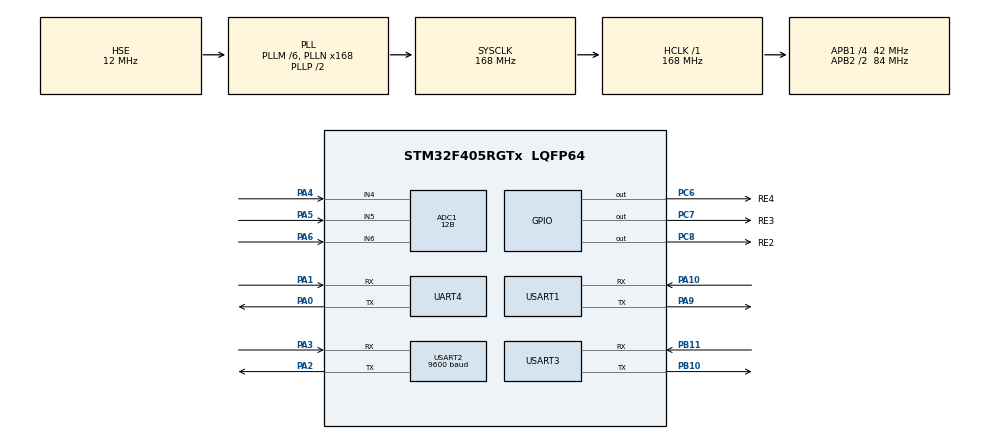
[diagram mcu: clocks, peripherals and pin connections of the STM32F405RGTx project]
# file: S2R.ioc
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ADC1.Channel-0\#ChannelRegularConversion=ADC_CHANNEL_4
ADC1.Channel-1\#ChannelRegularConversion=ADC_CHANNEL_5
ADC1.Channel-3\#ChannelRegularConversion=ADC_CHANNEL_6
ADC1.ClockPrescaler=ADC_CLOCK_SYNC_PCLK_DIV8
ADC1.ContinuousConvMode=ENABLE
ADC1.DMAContinuousRequests=ENABLE
ADC1.DataAlign=ADC_DATAALIGN_RIGHT
ADC1.DiscontinuousConvMode=DISABLE
ADC1.EOCSelection=ADC_EOC_SINGLE_CONV
ADC1.EnableAnalogWatchDog=false
ADC1.ExternalTrigConvEdge=ADC_EXTERNALTRIGCONVEDGE_NONE
ADC1.InjNumberOfConversion=0
ADC1.NbrOfConversion=3
ADC1.NbrOfConversionFlag=1
ADC1.Rank-0\#ChannelRegularConversion=1
ADC1.Rank-1\#ChannelRegularConversion=2
ADC1.Rank-3\#ChannelRegularConversion=3
ADC1.Resolution=ADC_RESOLUTION_12B
ADC1.SamplingTime-0\#ChannelRegularConversion=ADC_SAMPLETIME_15CYCLES
ADC1.SamplingTime-1\#ChannelRegularConversion=ADC_SAMPLETIME_15CYCLES
ADC1.SamplingTime-3\#ChannelRegularConversion=ADC_SAMPLETIME_15CYCLES
ADC1.ScanConvMode=ENABLE
ADC1.master=1
Dma.ADC1.0.Direction=DMA_PERIPH_TO_MEMORY
Dma.ADC1.0.FIFOMode=DMA_FIFOMODE_DISABLE
Dma.ADC1.0.Instance=DMA2_Stream0
Dma.ADC1.0.MemDataAlignment=DMA_MDATAALIGN_WORD
Dma.ADC1.0.MemInc=DMA_MINC_ENABLE
Dma.ADC1.0.Mode=DMA_CIRCULAR
Dma.ADC1.0.PeriphDataAlignment=DMA_PDATAALIGN_WORD
Dma.ADC1.0.PeriphInc=DMA_PINC_DISABLE
Dma.ADC1.0.Priority=DMA_PRIORITY_LOW
Dma.Request0=ADC1
Mcu.Family=STM32F4
Mcu.Name=STM32F405RGTx
Mcu.Package=LQFP64
NVIC.DMA2_Stream0_IRQn=true\:0\:0\:false\:false\:true
NVIC.PriorityGroup=NVIC_PRIORITYGROUP_4
NVIC.UART4_IRQn=true\:0\:0\:false\:false\:true
NVIC.USART1_IRQn=true\:0\:0\:false\:false\:true
NVIC.USART2_IRQn=true\:0\:0\:false\:false\:true
NVIC.USART3_IRQn=true\:0\:0\:false\:false\:true
PA0-WKUP.Mode=Asynchronous
PA0-WKUP.Signal=UART4_TX
PA1.Mode=Asynchronous
PA1.Signal=UART4_RX
PA10.Mode=Asynchronous
PA10.Signal=USART1_RX
PA2.Mode=Asynchronous
PA2.Signal=USART2_TX
PA3.Mode=Asynchronous
PA3.Signal=USART2_RX
PA4.Signal=ADCx_IN4
PA5.Signal=ADCx_IN5
PA6.Signal=ADCx_IN6
PA9.Mode=Asynchronous
PA9.Signal=USART1_TX
PB10.Mode=Asynchronous
PB10.Signal=USART3_TX
PB11.Mode=Asynchronous
PB11.Signal=USART3_RX
PC6.GPIO_Label=RE4
PC6.GPIO_Speed=GPIO_SPEED_FREQ_LOW
PC6.Signal=GPIO_Output
PC7.GPIO_Label=RE3
PC7.Signal=GPIO_Output
PC8.GPIO_Label=RE2
PC8.Signal=GPIO_Output
PH0-OSC_IN.Mode=HSE-External-Oscillator
PH0-OSC_IN.Signal=RCC_OSC_IN
PH1-OSC_OUT.Mode=HSE-External-Oscillator
PH1-OSC_OUT.Signal=RCC_OSC_OUT
ProjectManager.HeapSize=0x200
ProjectManager.StackSize=0x400
ProjectManager.TargetToolchain=MDK-ARM V5
RCC.48MHZClocksFreq_Value=84000000
RCC.AHBFreq_Value=168000000
RCC.APB1CLKDivider=RCC_HCLK_DIV4
RCC.APB1Freq_Value=42000000
RCC.APB1TimFreq_Value=84000000
RCC.APB2CLKDivider=RCC_HCLK_DIV2
RCC.APB2Freq_Value=84000000
RCC.APB2TimFreq_Value=168000000
RCC.CortexFreq_Value=168000000
RCC.HCLKFreq_Value=168000000
RCC.HSE_VALUE=12000000
RCC.HSI_VALUE=16000000
RCC.LSE_VALUE=32768
RCC.PLLM=6
RCC.PLLN=168
RCC.PLLSourceVirtual=RCC_PLLSOURCE_HSE
RCC.SYSCLKFreq_VALUE=168000000
RCC.SYSCLKSource=RCC_SYSCLKSOURCE_PLLCLK
RCC.VCOOutputFreq_Value=336000000
SH.ADCx_IN4.0=ADC1_IN4,IN4
SH.ADCx_IN5.0=ADC1_IN5,IN5
SH.ADCx_IN6.0=ADC1_IN6,IN6
USART2.BaudRate=9600
board=S2R

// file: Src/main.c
/**
  ******************************************************************************
  * File Name          : main.c
  * Description        : Main program body
  ******************************************************************************
  *
  * COPYRIGHT(c) 2017 STMicroelectronics
  *
  * Redistribution and use in source and binary forms, with or without modification,
  * are permitted provided that the following conditions are met:
  *   1. Redistributions of source code must retain the above copyright notice,
  *      this list of conditions and the following disclaimer.
  *   2. Redistributions in binary form must reproduce the above copyright notice,
  *      this list of conditions and the following disclaimer in the documentation
  *      and/or other materials provided with the distribution.
  *   3. Neither the name of STMicroelectronics nor the names of its contributors
  *      may be used to endorse or promote products derived from this software
  *      without specific prior written permission.
  *
  * THIS SOFTWARE IS PROVIDED BY THE COPYRIGHT HOLDERS AND CONTRIBUTORS "AS IS"
  * AND ANY EXPRESS OR IMPLIED WARRANTIES, INCLUDING, BUT NOT LIMITED TO, THE
  * IMPLIED WARRANTIES OF MERCHANTABILITY AND FITNESS FOR A PARTICULAR PURPOSE ARE
  * DISCLAIMED. IN NO EVENT SHALL THE COPYRIGHT HOLDER OR CONTRIBUTORS BE LIABLE
  * FOR ANY DIRECT, INDIRECT, INCIDENTAL, SPECIAL, EXEMPLARY, OR CONSEQUENTIAL
  * DAMAGES (INCLUDING, BUT NOT LIMITED TO, PROCUREMENT OF SUBSTITUTE GOODS OR
  * SERVICES; LOSS OF USE, DATA, OR PROFITS; OR BUSINESS INTERRUPTION) HOWEVER
  * CAUSED AND ON ANY THEORY OF LIABILITY, WHETHER IN CONTRACT, STRICT LIABILITY,
  * OR TORT (INCLUDING NEGLIGENCE OR OTHERWISE) ARISING IN ANY WAY OUT OF THE USE
  * OF THIS SOFTWARE, EVEN IF ADVISED OF THE POSSIBILITY OF SUCH DAMAGE.
  *
  ******************************************************************************
  */
#include "main.h"
#include "stm32f4xx_hal.h"
#include "adc.h"
#include "dma.h"
#include "usart.h"
#include "gpio.h"

/* USER CODE BEGIN PV */
/* Private variables ---------------------------------------------------------*/
uint32_t ADC_Value[100];

uint8_t rx1Buffer[1];

uint8_t tx2Buffer[1] ={0x55};
uint8_t rx2Buffer[2];
uint8_t rx2Flag = 0;
uint16_t distance2 = 0;

uint8_t rx3Buffer[1];
uint8_t buffer3[9];
uint8_t rx3Flag = 0;
uint16_t distance3;
uint16_t strength3;

uint8_t rx4Buffer[9];
uint8_t rx4Flag = 0;
uint16_t distance4;
uint16_t strength4;
/* USER CODE END PV */

void SystemClock_Config(void);
void Error_Handler(void);

/* USER CODE BEGIN PFP */
/* Private function prototypes -----------------------------------------------*/
// uint16_t tf3Measure(void);
// uint16_t tf4Measure(void);
/* USER CODE END PFP */

int main(void)
{

  /* USER CODE BEGIN 1 */
	for(uint32_t i=0; i<1000000; i++);
  // uint16_t i;
  // uint32_t ad4, ad5, ad6;
  // uint8_t dis2Flag = 0;
  // uint8_t dis3Flag = 0;
  // uint8_t dis4Flag = 0;
  /* USER CODE END 1 */

  /* MCU Configuration----------------------------------------------------------*/

  /* Reset of all peripherals, Initializes the Flash interface and the Systick. */
  HAL_Init();

  /* Configure the system clock */
  SystemClock_Config();

  /* Initialize all configured peripherals */
  MX_GPIO_Init();
  MX_DMA_Init();
  MX_USART1_UART_Init();
  MX_ADC1_Init();
  MX_UART4_Init();
  MX_USART3_UART_Init();
  MX_USART2_UART_Init();

  /* USER CODE BEGIN 2 */
  HAL_ADC_Start_DMA(&hadc1, (uint32_t*)&ADC_Value, 99);
  //HAL_UART_Receive_IT(&huart1, (uint8_t *)rx1Buffer, 1);
  //HAL_UART_Receive_IT(&huart2, (uint8_t *)rx2Buffer, 2);
  HAL_UART_Receive_IT(&huart3, (uint8_t *)rx3Buffer, RX3BUFFERSIZE);
  //HAL_UART_Receive_IT(&huart4, (uint8_t *)rx4Buffer, 9);
  /* USER CODE END 2 */

  /* Infinite loop */
  while (1)
  {

  /* USER CODE BEGIN 3 */
    // printf("Hello, World123\n");

    //HAL_UART_Receive_IT(&huart1, (uint8_t *)rx1Buffer, 1);
    //HAL_Delay(5);

    // for(i=0, ad4 = 0, ad5 = 0, ad6 = 0; i < 99; ) {
    //   ad4 += ADC_Value[i++];
    //   ad5 += ADC_Value[i++];
    //   ad6 += ADC_Value[i++];
    // }
    // ad4 /= 33;
    // ad5 /= 33;
    // ad6 /= 33;

    //0~4096
    //Ultrasonic sensor: 20~4500mm  4000->4000
    //TFmini: 300~12000mm     10000->4000
    //printf("%d, %d, %d\n", ad4, ad5, ad6);

    // while(HAL_UART_Transmit(&huart2, (uint8_t *)tx2Buffer, 1, 0xFFFF)!=HAL_OK);
    //Ultrasonic sensor need 4.5*2/340 = 26ms.
    //You can use HAL_UART_Transmit for 30ms once.
    //Maybe HAL_Delay or Timer Interrupt is needed.

    //HAL_UART_Transmit(&huart2, (uint8_t *)tx2Buffer, 1, 0xFFFF);

    // if(rx2Flag) {
    //   //printf("Hello, World! \r\n");
    //   printf("Second: (%d, %d) \r\n", ad4, distance2);
		// 	rx2Flag = 0;
    //   //HAL_UART_Receive_IT(&huart2, (uint8_t *)rx2Buffer, 2);
    //   //HAL_UART_Receive_IT(&huart3, (uint8_t *)rx3Buffer, 9);
		// 	if(distance2 >= 400 && distance2 <= 4500) {  //mm
		// 		//printf("Second: (%d, %d) \r\n", ad4, distance2);
    //     if(ad4>50) {
    //       if(distance2 < ad4) {
    //         HAL_GPIO_WritePin(RE2_GPIO_Port, RE2_Pin, GPIO_PIN_SET);
    //         dis2Flag = 1;
    //       } else if(dis2Flag && distance2 <= ad4 + 50) {
    //         HAL_GPIO_WritePin(RE2_GPIO_Port, RE2_Pin, GPIO_PIN_SET);
    //       } else if (distance2 >= ad4 + 50) {
    //         dis2Flag = 0;
    //         HAL_GPIO_WritePin(RE2_GPIO_Port, RE2_Pin, GPIO_PIN_RESET);
    //       } else {
    //         HAL_GPIO_WritePin(RE2_GPIO_Port, RE2_Pin, GPIO_PIN_RESET);
    //       }
    //     }
    //   }
    // }

    if(rx3Flag) {
      rx3Flag = 0;
      HAL_UART_Receive_IT(&huart3, (uint8_t *)rx3Buffer, 9);
      //HAL_UART_Receive_IT(&huart4, (uint8_t *)rx4Buffer, 9);
      printf("Third: (%4d, %4d) \r\n", ad5, strength3);
      if(strength3 > 5 && strength3 < 1800 && distance3 >= 300 && distance3 <= 12000) {  //mm
        //printf("distance3 = %d \n", distance3);
        if(ad5>400) {
          if(distance3 < ad5) {
            HAL_GPIO_WritePin(RE3_GPIO_Port, RE3_Pin, GPIO_PIN_SET);
            dis3Flag = 1;
          } else if(dis3Flag && distance3 <= ad5 + 50) {
            HAL_GPIO_WritePin(RE3_GPIO_Port, RE3_Pin, GPIO_PIN_SET);
          } else if (distance3 >= ad5 + 50) {
            dis3Flag = 0;
            HAL_GPIO_WritePin(RE3_GPIO_Port, RE3_Pin, GPIO_PIN_RESET);
          } else {
            HAL_GPIO_WritePin(RE3_GPIO_Port, RE3_Pin, GPIO_PIN_RESET);
          }
        }
      }
    }

    // if(rx4Flag) {
    //   rx4Flag = 0;
    //   printf("Hello, World222! \r\n");
    //   //HAL_UART_Receive_IT(&huart4, (uint8_t *)rx4Buffer, 9);
    //   HAL_UART_Receive_IT(&huart2, (uint8_t *)rx2Buffer, 2);
    //   printf("(%4d, %4d), (%4d, %4d), (%4d, %4d). \r\n", ad4, distance2, ad5, distance3, ad6, distance4);
    //   distance2 = 65535;  //器件带电插拔保证数据不出错.
    //   distance3 = 65535;
    //   distance4 = 65535;
    //   if(strength4 > 5 && strength4 < 1800 && distance4 >= 300 && distance4 <= 12000) {
    //     //printf("Fourth: (%4d, %4d) \n", distance4);
    //     if(ad6>400) {
    //       if(distance4 < ad6) {
    //         HAL_GPIO_WritePin(RE4_GPIO_Port, RE4_Pin, GPIO_PIN_SET);
    //         dis4Flag = 1;
    //       } else if(dis4Flag && distance4 <= ad6 + 50) {
    //         HAL_GPIO_WritePin(RE4_GPIO_Port, RE4_Pin, GPIO_PIN_SET);
    //       } else if (distance4 >= ad6 + 50) {
    //         dis4Flag = 0;
    //         HAL_GPIO_WritePin(RE4_GPIO_Port, RE4_Pin, GPIO_PIN_RESET);
    //       } else {
    //         HAL_GPIO_WritePin(RE4_GPIO_Port, RE4_Pin, GPIO_PIN_RESET);
    //       }
    //     }
    //   }
    // }

	//HAL_Delay(10);

  //   distance4 = tf4Measure();
  //   if(distance4 > 0) {
  //     printf("%d\n", distance4);
  //   }

  //   HAL_Delay(5);

  //   distance3 = tf3Measure();
  //   if(distance3 > 0) {
  //     printf("distance3 = %d\n", distance3);
  //     if(distance3 > 0) {
  //       HAL_GPIO_WritePin(RE3_GPIO_Port, RE3_Pin, GPIO_PIN_SET);
  //     } else if(distance3 < 0) {
  //       HAL_GPIO_WritePin(RE3_GPIO_Port, RE3_Pin, GPIO_PIN_RESET);
  //     } else {
  //       HAL_GPIO_WritePin(RE3_GPIO_Port, RE3_Pin, GPIO_PIN_RESET);
  //     }
  //   }
  }
  /* USER CODE END 3 */

}

/** System Clock Configuration
*/
void SystemClock_Config(void)
{

  RCC_OscInitTypeDef RCC_OscInitStruct;
  RCC_ClkInitTypeDef RCC_ClkInitStruct;

    /**Configure the main internal regulator output voltage
    */
  __HAL_RCC_PWR_CLK_ENABLE();

  __HAL_PWR_VOLTAGESCALING_CONFIG(PWR_REGULATOR_VOLTAGE_SCALE1);

    /**Initializes the CPU, AHB and APB busses clocks
    */
  RCC_OscInitStruct.OscillatorType = RCC_OSCILLATORTYPE_HSE;
  RCC_OscInitStruct.HSEState = RCC_HSE_ON;
  RCC_OscInitStruct.PLL.PLLState = RCC_PLL_ON;
  RCC_OscInitStruct.PLL.PLLSource = RCC_PLLSOURCE_HSE;
  RCC_OscInitStruct.PLL.PLLM = 6;
  RCC_OscInitStruct.PLL.PLLN = 168;
  RCC_OscInitStruct.PLL.PLLP = RCC_PLLP_DIV2;
  RCC_OscInitStruct.PLL.PLLQ = 4;
  if (HAL_RCC_OscConfig(&RCC_OscInitStruct) != HAL_OK)
  {
    Error_Handler();
  }

    /**Initializes the CPU, AHB and APB busses clocks
    */
  RCC_ClkInitStruct.ClockType = RCC_CLOCKTYPE_HCLK|RCC_CLOCKTYPE_SYSCLK
                              |RCC_CLOCKTYPE_PCLK1|RCC_CLOCKTYPE_PCLK2;
  RCC_ClkInitStruct.SYSCLKSource = RCC_SYSCLKSOURCE_PLLCLK;
  RCC_ClkInitStruct.AHBCLKDivider = RCC_SYSCLK_DIV1;
  RCC_ClkInitStruct.APB1CLKDivider = RCC_HCLK_DIV4;
  RCC_ClkInitStruct.APB2CLKDivider = RCC_HCLK_DIV2;

  if (HAL_RCC_ClockConfig(&RCC_ClkInitStruct, FLASH_LATENCY_5) != HAL_OK)
  {
    Error_Handler();
  }

    /**Configure the Systick interrupt time
    */
  HAL_SYSTICK_Config(HAL_RCC_GetHCLKFreq()/1000);

    /**Configure the Systick
    */
  HAL_SYSTICK_CLKSourceConfig(SYSTICK_CLKSOURCE_HCLK);

  /* SysTick_IRQn interrupt configuration */
  HAL_NVIC_SetPriority(SysTick_IRQn, 0, 0);
}

/* USER CODE BEGIN 4 */
// void HAL_UART_RxCpltCallback(UART_HandleTypeDef *huart) {
//   UNUSED(huart);

// 	if(huart->Instance == huart2.Instance) {
// 		rx2Flag = 1;
// 		distance2 = rx2Buffer[0] * 256 + rx2Buffer[1];
// 		rx2Buffer[0] = 0;
// 		rx2Buffer[1] = 0;
// 	}

//   if(huart->Instance == huart3.Instance) {
//     // if(rx3Buffer[0] == 0x59 && rx3Buffer[1] == 0x59) {
//     //   uint16_t checksum  = 0;
//     //   for(int i = 0; i < 8; i++) {
//     //     checksum += rx3Buffer[i];
//     //   }
//     //   if(rx3Buffer[8] == checksum % 256) {
//     //     rx3Flag = 1;
//     //     distance3 = rx3Buffer[2] + rx3Buffer[3] * 256;
//     //     strength3 = rx3Buffer[4] + rx3Buffer[5] * 256;
//     //   }
//     // }
//     if(rx3Buffer[0] == 0x59) {
//       rx3Buufer
//     }
//   }

//   if(huart->Instance == huart4.Instance) {
//     if(rx4Buffer[0] == 0x59 && rx4Buffer[1] == 0x59) {
//       uint16_t checksum  = 0;
//       for(int i = 0; i < 8; i++) {
//         checksum += rx4Buffer[i];
//       }
//       if(rx4Buffer[8] == checksum % 256) {
//         rx4Flag = 1;
//         distance4 = rx4Buffer[2] + rx4Buffer[3] * 256;
//         strength4 = rx4Buffer[4] + rx4Buffer[5] * 256;
//       }
//     }
//   }

// }

// uint16_t tf3Measure(void) {
//   if(HAL_UART_Receive(&huart3, rx3Buffer, 9, 0xFFFF) == 0) {
//     //printf("hello, world\n");
//     if(rx3Buffer[0] == 0x59 && rx3Buffer[1] == 0x59) {
//       uint16_t checksum  = 0;
//       for(int i = 0; i < 8; i++) {
//         checksum += rx3Buffer[i];
//       }
//       if(rx3Buffer[8] == checksum % 256) {
//         return (rx3Buffer[2] + rx3Buffer[3] * 256);
//       }
//     }
//   }
//   return 0;
// }

// uint16_t tf4Measure(void) {
//   if(HAL_UART_Receive(&huart4, rx4Buffer, 9, 0xFFFF) == 0) {
//     if(rx4Buffer[0] == 0x59 && rx4Buffer[1] == 0x59) {
//       uint16_t checksum  = 0;
//       for(int i = 0; i < 8; i++) {
//         checksum += rx4Buffer[i];
//       }
//       if(rx4Buffer[8] == checksum % 256) {
//         return (rx4Buffer[2] + rx4Buffer[3] * 256);
//       }
//     }
//   }
//   return 0;
// }
/* USER CODE END 4 */

void Error_Handler(void)
{
  while(1)
  {
  }
}

/************************ (C) COPYRIGHT STMicroelectronics *****END OF FILE****/
